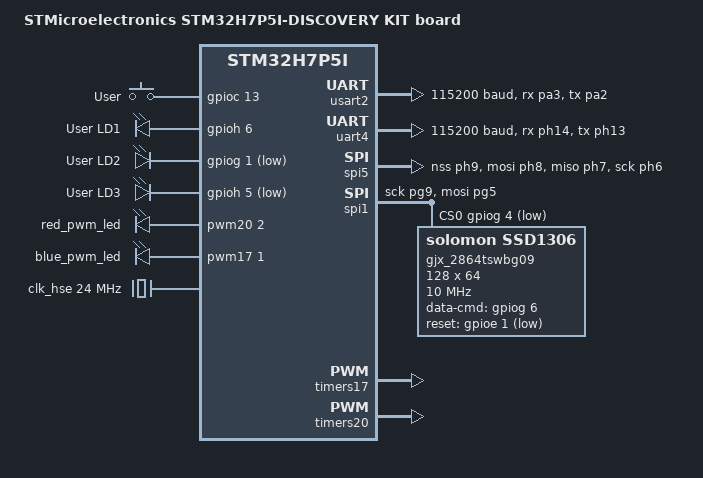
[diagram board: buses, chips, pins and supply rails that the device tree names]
/*
 * SPDX-FileCopyrightText: Copyright (c) 2026 STMicroelectronics
 * SPDX-License-Identifier: Apache-2.0
 */

/dts-v1/;
#include <st/h7p/stm32h7p5Xi.dtsi>
#include <st/h7p/stm32h7p(4-5)i(g-i)kx-pinctrl.dtsi>
#include "arduino_r3_connector.dtsi"

#include <zephyr/dt-bindings/input/input-event-codes.h>
#include <zephyr/dt-bindings/pwm/stm32_pwm.h>

/ {
	compatible = "st,stm32h7p5i-dk";
	model = "STMicroelectronics STM32H7P5I-DISCOVERY KIT board";

	aliases {
		led0 = &green_led;
		led1 = &red_led;
		led2 = &blue_led;
		pwm-led0 = &red_pwm_led;
		pwm-led1 = &blue_pwm_led;
		sw0 = &user_button;
	};

	chosen {
		zephyr,console = &usart2;
		zephyr,display = &gjx_2864tswbg09;
		zephyr,shell-uart = &usart2;
	};

	gpio-keys {
		compatible = "gpio-keys";

		user_button: button_0 {
			label = "User";
			gpios = <&gpioc 13 GPIO_ACTIVE_HIGH>;
			zephyr,code = <INPUT_KEY_0>;
		};
	};

	leds {
		compatible = "gpio-leds";

		green_led: led_0 {
			gpios = <&gpioh 6 GPIO_ACTIVE_HIGH>;
			label = "User LD1";
		};

		red_led: led_1 {
			gpios = <&gpiog 1 GPIO_ACTIVE_LOW>;
			label = "User LD2";
		};

		blue_led: led_2 {
			gpios = <&gpioh 5 GPIO_ACTIVE_LOW>;
			label = "User LD3";
		};
	};

	pwmleds {
		compatible = "pwm-leds";

		/* LD1 is not exposed here: no PWM-capable pin is wired to it */

		red_pwm_led: led_1_pwm {
			pwms = <&pwm20 2 PWM_MSEC(20)
				(PWM_POLARITY_NORMAL | STM32_PWM_COMPLEMENTARY)>;
		};

		blue_pwm_led: led_2_pwm {
			pwms = <&pwm17 1 PWM_MSEC(20) PWM_POLARITY_NORMAL>;
		};
	};
};

&clk_lse {
	driving-capability = <0>;
	status = "okay";
};

&clk_hse {
	clock-frequency = <DT_FREQ_M(24)>;
	hse-bypass;
	status = "okay";
};

&pll {
	/*
	 * f(hse_ck)    =  24 MHz
	 * f(vco1_ck)   = 520 MHz: (24 / 6) * 130
	 * f(pll1_p_ck) = 520 MHz: (520 / 1)
	 * f(pll1_q_ck) =  65 MHz: (520 / 8)
	 * pll1_s_ck is not used
	 */
	clocks = <&clk_hse>;
	div-m = <6>;
	mul-n = <130>;
	div-p = <1>;
	div-q = <8>;
	status = "okay";
};

&rcc {
	/*
	 * Select pll1_p_ck as system clock (sys_ck).
	 * BMPRE is set to 2 to satisfy Fbus <= Fbusmax = 260 MHz.
	 * PPRE1/PPRE4 are set to 2 to satisfy Fbus <= Fbusmax/2.
	 */
	clocks = <&pll>;
	clock-frequency = <DT_FREQ_M(520)>;
	cpre = <1>;
	bmpre = <2>;
	ppre1 = <2>;
	ppre2 = <1>;
	ppre4 = <2>;
};

&pwr {
	st,power-supply = "internal-regulator";
};

&flash0 {
	partitions {
		ranges;
		#address-cells = <1>;
		#size-cells = <1>;

		boot_partition: partition@0 {
			compatible = "zephyr,mapped-partition";
			reg = <0x00000000 DT_SIZE_K(128)>;
			label = "mcuboot";
		};

		storage_partition: partition@20000 {
			compatible = "zephyr,mapped-partition";
			reg = <0x00020000 DT_SIZE_K(128)>;
			label = "storage";
		};

		application_partition: partition@40000 {
			compatible = "zephyr,mapped-partition";
			reg = <0x00040000 (DT_SIZE_M(2) - DT_SIZE_K(256))>;
			label = "application";
		};
	};
};

/* ST-Link VCP UART */
&usart2 {
	pinctrl-0 = <&usart2_rx_pa3 &usart2_tx_pa2>;
	pinctrl-names = "default";
	current-speed = <115200>;
	status = "okay";
};

&uart4 {
	/* Arduino D0 (RX) / D1 (TX) */
	pinctrl-0 = <&uart4_rx_ph14 &uart4_tx_ph13>;
	pinctrl-names = "default";
	current-speed = <115200>;
	status = "okay";
};

&spi5 {
	/* Arduino D10 (NSS) / D11 (MOSI) / D12 (MISO) / D13 (SCK) */
	pinctrl-0 = <&spi5_nss_ph9 &spi5_mosi_ph8 &spi5_miso_ph7 &spi5_sck_ph6>;
	pinctrl-names = "default";
	status = "okay";
};

&spi1 {
	pinctrl-0 = <&spi1_sck_pg9 &spi1_mosi_pg5>;
	pinctrl-names = "default";
	cs-gpios = <&gpiog 4 GPIO_ACTIVE_LOW>;
	status = "okay";

	/*
	 * The on-board display (GJX-2864TSWBG09) uses an ST7315 driver IC
	 * which behaves identically to an SSD1306, so use that as compatible.
	 */
	gjx_2864tswbg09: display@0 {
		compatible = "solomon,ssd1306";
		reg = <0>;
		spi-max-frequency = <DT_FREQ_M(10)>;
		width = <128>;
		height = <64>;
		segment-offset = <0>;
		page-offset = <0>;
		display-offset = <0>;
		multiplex-ratio = <63>;
		segment-remap;
		com-invdir;
		prechargep = <0x22>;

		data-cmd-gpios = <&gpiog 6 0>;
		reset-gpios = <&gpioe 1 GPIO_ACTIVE_LOW>;
	};
};

/* User LEDs PWM */
&timers17 {
	st,prescaler = <10000>;
	status = "okay";

	pwm17: pwm {
		pinctrl-0 = <&tim17_ch1_ph5>;
		pinctrl-names = "default";
		status = "okay";
	};
};

&timers20 {
	st,prescaler = <10000>;
	status = "okay";

	pwm20: pwm {
		pinctrl-0 = <&tim20_ch2n_pg1>;
		pinctrl-names = "default";
		status = "okay";
	};
};
